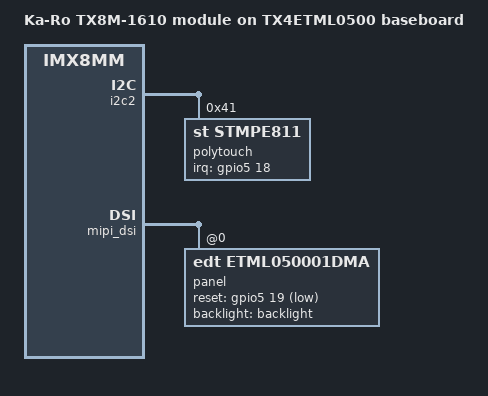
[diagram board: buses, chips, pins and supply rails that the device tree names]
// SPDX-License-Identifier: (GPL-2.0 OR MIT)
/*
 * Copyright 2019 Lothar Waßmann <LW@KARO-electronics.de>
 *
 */

#include "imx8mm-tx8m-1610.dts"
#include "imx8mm-tx8m-mipi-mb.dtsi"

/ {
	model = "Ka-Ro TX8M-1610 module on TX4ETML0500 baseboard";

	/delete-node/ sound;
};

&fec1 {
	status = "disabled";
};

&i2c2 {
	/delete-node/ sgtl5000@a;
	/delete-node/ mcp7940x@6f;

	polytouch@41 {
		compatible = "st,stmpe811";
		reg = <0x41>;
		irq-gpio = <&gpio5 18 IRQ_TYPE_LEVEL_LOW>;
		interrupt-controller;
		id = <0>;
		blocks = <0x5>;
		irq-trigger = <0x1>;
		wakeup-source;

		stmpe_touchscreen {
			compatible = "st,stmpe-ts";
			/* 3.25 MHz ADC clock speed */
			st,adc-freq = <1>;
			/* 8 sample average control */
			st,ave-ctrl = <3>;
			/* 7 length fractional part in z */
			st,fraction-z = <7>;
			/*
			 * 50 mA typical 80 mA max touchscreen drivers
			 * current limit value
			 */
			st,i-drive = <1>;
			/* 12-bit ADC */
			st,mod-12b = <1>;
			/* internal ADC reference */
			st,ref-sel = <0>;
			/* ADC converstion time: 80 clocks */
			st,sample-time = <4>;
			/* 1 ms panel driver settling time */
			st,settling = <3>;
			/* 5 ms touch detect interrupt delay */
			st,touch-det-delay = <5>;
		};
	};
};

&mipi_dsi {
	panel@0 {
		compatible = "edt,etml050001dma";
		reg = <0>;
		panel-width-mm = <65>;
		panel-height-mm = <120>;
		dsi-lanes = <4>;
		video-mode = <0>;
		backlight = <&backlight>;
		reset-gpios = <&gpio5 19 GPIO_ACTIVE_LOW>;

		display-timings {
			native-mode = <&etml050001dma>;

			etml050001dma: edt-etml050001dma {
				hactive = <720>;
				hsync-len = <12>;
				hfront-porch = <12>;
				hback-porch = <24>;
				vactive = <1280>;
				vsync-len = <2>;
				vfront-porch = <2>;
				vback-porch = <2>;
				clock-frequency = <(768 * 1286 * 60)>;
			};
		};
	};
};

&pcie0 {
	status = "disabled";
};

&sai2 {
	status = "disabled";
};

&uart2 {
	status = "disabled";
};

&uart3 {
	status = "disabled";
};

&usdhc2 {
	status = "disabled";
};

&usdhc3 {
	status = "disabled";
};
